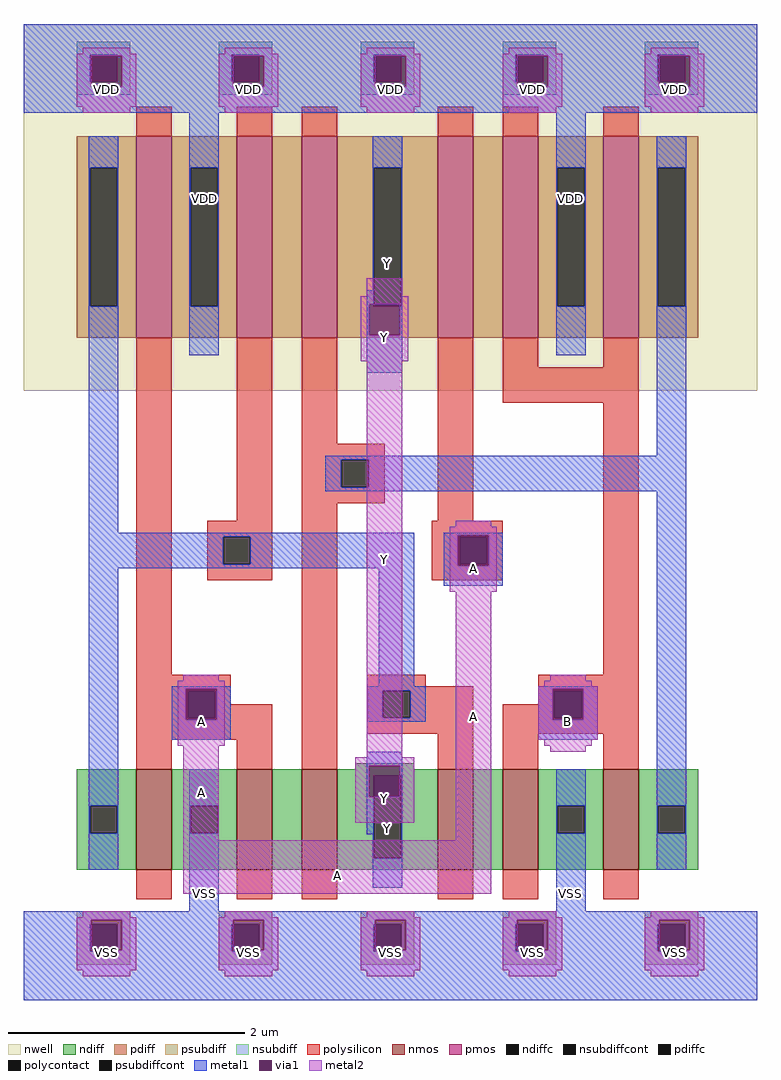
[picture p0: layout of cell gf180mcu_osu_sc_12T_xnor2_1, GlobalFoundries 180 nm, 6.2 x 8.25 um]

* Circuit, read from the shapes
.subckt gf180mcu_osu_sc_12T_xnor2_1 A Y B VDD VSS
XM1 VSS A n1 VSS nfet_03v3 w=0.85u l=0.3u
XM2 n2 A VSS VSS nfet_03v3 w=0.85u l=0.3u
XM3 Y n3 n2 VSS nfet_03v3 w=0.85u l=0.3u
XM4 n4 n1 Y VSS nfet_03v3 w=0.85u l=0.3u
XM5 VSS B n4 VSS nfet_03v3 w=0.85u l=0.3u
XM6 n3 B VSS VSS nfet_03v3 w=0.85u l=0.3u
XM7 VDD A n1 VDD pfet_03v3 w=1.7u l=0.3u
XM8 n5 n1 VDD VDD pfet_03v3 w=1.7u l=0.3u
XM9 Y n3 n5 VDD pfet_03v3 w=1.7u l=0.3u
XM10 n6 A Y VDD pfet_03v3 w=1.7u l=0.3u
XM11 VDD B n6 VDD pfet_03v3 w=1.7u l=0.3u
XM12 n3 B VDD VDD pfet_03v3 w=1.7u l=0.3u
.ends

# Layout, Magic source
magic
tech gf180mcuC
magscale 1 10
<< nwell >>
rect 0 1000 1240 1620
<< nmos >>
rect 190 190 250 360
rect 360 190 420 360
rect 470 190 530 360
rect 700 190 760 360
rect 810 190 870 360
rect 980 190 1040 360
<< pmos >>
rect 190 1090 250 1430
rect 360 1090 420 1430
rect 470 1090 530 1430
rect 700 1090 760 1430
rect 810 1090 870 1430
rect 980 1090 1040 1430
<< ndiff >>
rect 560 360 660 370
rect 90 298 190 360
rect 90 252 112 298
rect 158 252 190 298
rect 90 190 190 252
rect 250 298 360 360
rect 250 252 282 298
rect 328 252 360 298
rect 250 190 360 252
rect 420 190 470 360
rect 530 350 700 360
rect 530 210 592 350
rect 638 210 700 350
rect 530 190 700 210
rect 760 190 810 360
rect 870 298 980 360
rect 870 252 902 298
rect 948 252 980 298
rect 870 190 980 252
rect 1040 298 1140 360
rect 1040 252 1072 298
rect 1118 252 1140 298
rect 1040 190 1140 252
<< pdiff >>
rect 90 1377 190 1430
rect 90 1143 112 1377
rect 158 1143 190 1377
rect 90 1090 190 1143
rect 250 1377 360 1430
rect 250 1143 282 1377
rect 328 1143 360 1377
rect 250 1090 360 1143
rect 420 1090 470 1430
rect 530 1377 700 1430
rect 530 1143 592 1377
rect 638 1143 700 1377
rect 530 1090 700 1143
rect 760 1090 810 1430
rect 870 1377 980 1430
rect 870 1143 902 1377
rect 948 1143 980 1377
rect 870 1090 980 1143
rect 1040 1377 1140 1430
rect 1040 1143 1072 1377
rect 1118 1143 1140 1377
rect 1040 1090 1140 1143
<< ndiffc >>
rect 112 252 158 298
rect 282 252 328 298
rect 592 210 638 350
rect 902 252 948 298
rect 1072 252 1118 298
<< pdiffc >>
rect 112 1143 158 1377
rect 282 1143 328 1377
rect 592 1143 638 1377
rect 902 1143 948 1377
rect 1072 1143 1118 1377
<< psubdiff >>
rect 90 98 180 120
rect 90 52 112 98
rect 158 52 180 98
rect 90 30 180 52
rect 330 98 420 120
rect 330 52 352 98
rect 398 52 420 98
rect 330 30 420 52
rect 570 98 660 120
rect 570 52 592 98
rect 638 52 660 98
rect 570 30 660 52
rect 810 98 900 120
rect 810 52 832 98
rect 878 52 900 98
rect 810 30 900 52
rect 1050 98 1140 120
rect 1050 52 1072 98
rect 1118 52 1140 98
rect 1050 30 1140 52
<< nsubdiff >>
rect 90 1568 180 1590
rect 90 1522 112 1568
rect 158 1522 180 1568
rect 90 1500 180 1522
rect 330 1568 420 1590
rect 330 1522 352 1568
rect 398 1522 420 1568
rect 330 1500 420 1522
rect 570 1568 660 1590
rect 570 1522 592 1568
rect 638 1522 660 1568
rect 570 1500 660 1522
rect 810 1568 900 1590
rect 810 1522 832 1568
rect 878 1522 900 1568
rect 810 1500 900 1522
rect 1050 1568 1140 1590
rect 1050 1522 1072 1568
rect 1118 1522 1140 1568
rect 1050 1500 1140 1522
<< psubdiffcont >>
rect 112 52 158 98
rect 352 52 398 98
rect 592 52 638 98
rect 832 52 878 98
rect 1072 52 1118 98
<< nsubdiffcont >>
rect 112 1522 158 1568
rect 352 1522 398 1568
rect 592 1522 638 1568
rect 832 1522 878 1568
rect 1072 1522 1118 1568
<< polysilicon >>
rect 190 1430 250 1480
rect 360 1430 420 1480
rect 470 1430 530 1480
rect 700 1430 760 1480
rect 810 1430 870 1480
rect 980 1430 1040 1480
rect 190 520 250 1090
rect 360 780 420 1090
rect 310 753 420 780
rect 310 707 337 753
rect 383 707 420 753
rect 310 680 420 707
rect 470 910 530 1090
rect 470 883 610 910
rect 470 837 537 883
rect 583 837 610 883
rect 470 810 610 837
rect 190 493 350 520
rect 190 447 277 493
rect 323 470 350 493
rect 323 447 420 470
rect 190 410 420 447
rect 190 360 250 410
rect 360 360 420 410
rect 470 360 530 810
rect 700 780 760 1090
rect 810 1040 870 1090
rect 980 1040 1040 1090
rect 810 980 1040 1040
rect 690 753 810 780
rect 690 707 737 753
rect 783 707 810 753
rect 690 680 810 707
rect 980 520 1040 980
rect 580 500 680 520
rect 580 493 760 500
rect 580 447 607 493
rect 653 447 760 493
rect 870 493 1040 520
rect 870 470 897 493
rect 580 420 760 447
rect 700 360 760 420
rect 810 447 897 470
rect 943 447 1040 493
rect 810 420 1040 447
rect 810 360 870 420
rect 980 360 1040 420
rect 190 140 250 190
rect 360 140 420 190
rect 470 140 530 190
rect 700 140 760 190
rect 810 140 870 190
rect 980 140 1040 190
<< polycontact >>
rect 337 707 383 753
rect 537 837 583 883
rect 277 447 323 493
rect 737 707 783 753
rect 607 447 653 493
rect 897 447 943 493
<< metal1 >>
rect 0 1568 1240 1620
rect 0 1522 112 1568
rect 158 1566 352 1568
rect 398 1566 592 1568
rect 638 1566 832 1568
rect 878 1566 1072 1568
rect 1118 1566 1240 1568
rect 166 1522 352 1566
rect 406 1522 592 1566
rect 646 1522 832 1566
rect 886 1522 1072 1566
rect 0 1514 114 1522
rect 166 1514 354 1522
rect 406 1514 594 1522
rect 646 1514 834 1522
rect 886 1514 1074 1522
rect 1126 1514 1240 1566
rect 0 1470 1240 1514
rect 110 1377 160 1430
rect 110 1143 112 1377
rect 158 1143 160 1377
rect 110 760 160 1143
rect 280 1377 330 1470
rect 280 1143 282 1377
rect 328 1143 330 1377
rect 590 1377 640 1430
rect 590 1170 592 1377
rect 280 1060 330 1143
rect 580 1146 592 1170
rect 580 1094 584 1146
rect 638 1143 640 1377
rect 636 1094 640 1143
rect 580 1030 640 1094
rect 900 1377 950 1470
rect 900 1143 902 1377
rect 948 1143 950 1377
rect 900 1060 950 1143
rect 1070 1377 1120 1430
rect 1070 1143 1072 1377
rect 1118 1143 1120 1377
rect 1070 890 1120 1143
rect 510 883 1120 890
rect 510 837 537 883
rect 583 837 1120 883
rect 510 830 1120 837
rect 110 753 660 760
rect 110 707 337 753
rect 383 707 660 753
rect 110 700 660 707
rect 110 298 160 700
rect 600 500 660 700
rect 710 756 810 760
rect 710 704 734 756
rect 786 704 810 756
rect 710 670 810 704
rect 250 496 350 500
rect 250 444 274 496
rect 326 444 350 496
rect 250 410 350 444
rect 580 493 680 500
rect 580 447 607 493
rect 653 447 680 493
rect 580 440 680 447
rect 870 496 970 500
rect 870 444 894 496
rect 946 444 970 496
rect 870 410 970 444
rect 580 366 640 390
rect 110 252 112 298
rect 158 252 160 298
rect 110 190 160 252
rect 280 298 330 360
rect 280 252 282 298
rect 328 252 330 298
rect 280 120 330 252
rect 580 314 584 366
rect 636 350 640 366
rect 580 250 592 314
rect 590 210 592 250
rect 638 210 640 350
rect 590 160 640 210
rect 900 298 950 360
rect 900 252 902 298
rect 948 252 950 298
rect 900 120 950 252
rect 1070 298 1120 830
rect 1070 252 1072 298
rect 1118 252 1120 298
rect 1070 190 1120 252
rect 0 106 1240 120
rect 0 98 114 106
rect 166 98 354 106
rect 406 98 594 106
rect 646 98 834 106
rect 886 98 1074 106
rect 0 52 112 98
rect 166 54 352 98
rect 406 54 592 98
rect 646 54 832 98
rect 886 54 1072 98
rect 1126 54 1240 106
rect 158 52 352 54
rect 398 52 592 54
rect 638 52 832 54
rect 878 52 1072 54
rect 1118 52 1240 54
rect 0 -30 1240 52
<< via1 >>
rect 114 1522 158 1566
rect 158 1522 166 1566
rect 354 1522 398 1566
rect 398 1522 406 1566
rect 594 1522 638 1566
rect 638 1522 646 1566
rect 834 1522 878 1566
rect 878 1522 886 1566
rect 1074 1522 1118 1566
rect 1118 1522 1126 1566
rect 114 1514 166 1522
rect 354 1514 406 1522
rect 594 1514 646 1522
rect 834 1514 886 1522
rect 1074 1514 1126 1522
rect 584 1143 592 1146
rect 592 1143 636 1146
rect 584 1094 636 1143
rect 734 753 786 756
rect 734 707 737 753
rect 737 707 783 753
rect 783 707 786 753
rect 734 704 786 707
rect 274 493 326 496
rect 274 447 277 493
rect 277 447 323 493
rect 323 447 326 493
rect 274 444 326 447
rect 894 493 946 496
rect 894 447 897 493
rect 897 447 943 493
rect 943 447 946 493
rect 894 444 946 447
rect 584 350 636 366
rect 584 314 592 350
rect 592 314 636 350
rect 114 98 166 106
rect 354 98 406 106
rect 594 98 646 106
rect 834 98 886 106
rect 1074 98 1126 106
rect 114 54 158 98
rect 158 54 166 98
rect 354 54 398 98
rect 398 54 406 98
rect 594 54 638 98
rect 638 54 646 98
rect 834 54 878 98
rect 878 54 886 98
rect 1074 54 1118 98
rect 1118 54 1126 98
<< metal2 >>
rect 100 1570 180 1580
rect 340 1570 420 1580
rect 580 1570 660 1580
rect 820 1570 900 1580
rect 1060 1570 1140 1580
rect 90 1566 190 1570
rect 90 1514 114 1566
rect 166 1514 190 1566
rect 90 1480 190 1514
rect 330 1566 430 1570
rect 330 1514 354 1566
rect 406 1514 430 1566
rect 330 1480 430 1514
rect 570 1566 670 1570
rect 570 1514 594 1566
rect 646 1514 670 1566
rect 570 1480 670 1514
rect 810 1566 910 1570
rect 810 1514 834 1566
rect 886 1514 910 1566
rect 810 1480 910 1514
rect 1050 1566 1150 1570
rect 1050 1514 1074 1566
rect 1126 1514 1150 1566
rect 1050 1480 1150 1514
rect 100 1470 180 1480
rect 340 1470 420 1480
rect 580 1470 660 1480
rect 820 1470 900 1480
rect 1060 1470 1140 1480
rect 580 1160 640 1190
rect 570 1146 650 1160
rect 570 1094 584 1146
rect 636 1094 650 1146
rect 570 1050 650 1094
rect 270 510 330 520
rect 260 496 340 510
rect 260 444 274 496
rect 326 444 340 496
rect 260 400 340 444
rect 270 240 330 400
rect 580 380 640 1050
rect 730 770 790 780
rect 720 756 800 770
rect 720 704 734 756
rect 786 704 800 756
rect 720 660 800 704
rect 560 366 660 380
rect 560 314 584 366
rect 636 314 660 366
rect 560 270 660 314
rect 730 240 790 660
rect 890 510 950 520
rect 880 500 960 510
rect 870 496 970 500
rect 870 444 894 496
rect 946 444 970 496
rect 870 410 970 444
rect 880 400 960 410
rect 890 390 950 400
rect 270 150 790 240
rect 100 110 180 120
rect 340 110 420 120
rect 580 110 660 120
rect 820 110 900 120
rect 1060 110 1140 120
rect 90 106 190 110
rect 90 54 114 106
rect 166 54 190 106
rect 90 20 190 54
rect 330 106 430 110
rect 330 54 354 106
rect 406 54 430 106
rect 330 20 430 54
rect 570 106 670 110
rect 570 54 594 106
rect 646 54 670 106
rect 570 20 670 54
rect 810 106 910 110
rect 810 54 834 106
rect 886 54 910 106
rect 810 20 910 54
rect 1050 106 1150 110
rect 1050 54 1074 106
rect 1126 54 1150 106
rect 1050 20 1150 54
rect 100 10 180 20
rect 340 10 420 20
rect 580 10 660 20
rect 820 10 900 20
rect 1060 10 1140 20
<< labels >>
rlabel metal2 s 100 1470 180 1550 4 VDD
port 8 nsew power bidirectional abutment
rlabel metal2 s 100 10 180 90 4 VSS
port 9 nsew ground bidirectional
rlabel metal2 s 270 150 330 490 4 A
port 1 nsew signal input
rlabel metal2 s 580 270 640 1160 4 Y
port 2 nsew signal output
rlabel metal2 s 890 390 950 490 4 B
port 3 nsew signal input
rlabel metal2 s 260 400 340 480 1 A
port 1 nsew signal input
rlabel metal2 s 270 150 790 210 1 A
port 1 nsew signal input
rlabel metal2 s 730 150 790 750 1 A
port 1 nsew signal input
rlabel metal2 s 720 660 800 740 1 A
port 1 nsew signal input
rlabel metal1 s 250 410 350 470 1 A
port 1 nsew signal input
rlabel metal1 s 710 670 810 730 1 A
port 1 nsew signal input
rlabel metal2 s 880 400 960 480 1 B
port 3 nsew signal input
rlabel metal2 s 870 410 970 470 1 B
port 3 nsew signal input
rlabel metal1 s 870 410 970 470 1 B
port 3 nsew signal input
rlabel metal2 s 90 1480 190 1540 1 VDD
port 8 nsew power bidirectional abutment
rlabel metal2 s 340 1470 420 1550 1 VDD
port 8 nsew power bidirectional abutment
rlabel metal2 s 330 1480 430 1540 1 VDD
port 8 nsew power bidirectional abutment
rlabel metal2 s 580 1470 660 1550 1 VDD
port 8 nsew power bidirectional abutment
rlabel metal2 s 570 1480 670 1540 1 VDD
port 8 nsew power bidirectional abutment
rlabel metal2 s 820 1470 900 1550 1 VDD
port 8 nsew power bidirectional abutment
rlabel metal2 s 810 1480 910 1540 1 VDD
port 8 nsew power bidirectional abutment
rlabel metal2 s 1060 1470 1140 1550 1 VDD
port 8 nsew power bidirectional abutment
rlabel metal2 s 1050 1480 1150 1540 1 VDD
port 8 nsew power bidirectional abutment
rlabel metal1 s 280 1060 330 1590 1 VDD
port 8 nsew power bidirectional abutment
rlabel metal1 s 900 1060 950 1590 1 VDD
port 8 nsew power bidirectional abutment
rlabel metal1 s 0 1470 1240 1590 1 VDD
port 8 nsew power bidirectional abutment
rlabel metal2 s 90 20 190 80 1 VSS
port 9 nsew ground bidirectional
rlabel metal2 s 340 10 420 90 1 VSS
port 9 nsew ground bidirectional
rlabel metal2 s 330 20 430 80 1 VSS
port 9 nsew ground bidirectional
rlabel metal2 s 580 10 660 90 1 VSS
port 9 nsew ground bidirectional
rlabel metal2 s 570 20 670 80 1 VSS
port 9 nsew ground bidirectional
rlabel metal2 s 820 10 900 90 1 VSS
port 9 nsew ground bidirectional
rlabel metal2 s 810 20 910 80 1 VSS
port 9 nsew ground bidirectional
rlabel metal2 s 1060 10 1140 90 1 VSS
port 9 nsew ground bidirectional
rlabel metal2 s 1050 20 1150 80 1 VSS
port 9 nsew ground bidirectional
rlabel metal1 s 280 -30 330 330 1 VSS
port 9 nsew ground bidirectional
rlabel metal1 s 900 -30 950 330 1 VSS
port 9 nsew ground bidirectional
rlabel metal1 s 0 -30 1240 90 1 VSS
port 9 nsew ground bidirectional
rlabel metal2 s 570 1050 650 1130 1 Y
port 2 nsew signal output
rlabel metal2 s 560 270 660 350 1 Y
port 2 nsew signal output
rlabel metal1 s 580 1030 640 1140 1 Y
port 2 nsew signal output
rlabel metal1 s 590 1030 640 1400 1 Y
port 2 nsew signal output
rlabel metal1 s 590 160 640 360 1 Y
port 2 nsew signal output
rlabel metal1 s 580 250 640 360 1 Y
port 2 nsew signal output
<< properties >>
string FIXED_BBOX 0 -30 1240 1590
string GDS_END 443480
string GDS_FILE $PDKPATH/libs.ref/gf180mcu_osu_sc_12T/gds/gf180mcu_osu_sc_12T.gds
string GDS_START 431954
string LEFclass CORE
string LEFsite GF018hv5v_mcu_sc7
string LEFsymmetry X Y
<< end >>
